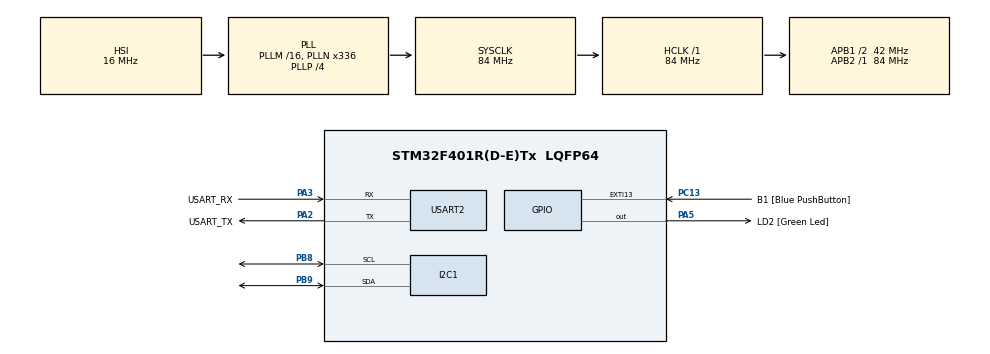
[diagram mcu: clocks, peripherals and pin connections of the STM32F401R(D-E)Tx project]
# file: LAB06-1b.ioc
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Dma.Request0=USART2_TX
Dma.USART2_TX.0.Direction=DMA_MEMORY_TO_PERIPH
Dma.USART2_TX.0.FIFOMode=DMA_FIFOMODE_DISABLE
Dma.USART2_TX.0.Instance=DMA1_Stream6
Dma.USART2_TX.0.MemDataAlignment=DMA_MDATAALIGN_BYTE
Dma.USART2_TX.0.MemInc=DMA_MINC_ENABLE
Dma.USART2_TX.0.Mode=DMA_NORMAL
Dma.USART2_TX.0.PeriphDataAlignment=DMA_PDATAALIGN_BYTE
Dma.USART2_TX.0.PeriphInc=DMA_PINC_DISABLE
Dma.USART2_TX.0.Priority=DMA_PRIORITY_LOW
Mcu.Family=STM32F4
Mcu.Name=STM32F401R(D-E)Tx
Mcu.Package=LQFP64
NVIC.DMA1_Stream6_IRQn=true\:0\:0\:false\:false\:true\:false\:true\:true
NVIC.PriorityGroup=NVIC_PRIORITYGROUP_4
NVIC.TIM2_IRQn=true\:0\:0\:false\:false\:true\:true\:true\:true
NVIC.USART2_IRQn=true\:0\:0\:false\:false\:true\:true\:true\:true
PA13.GPIO_Label=TMS
PA13.Mode=Trace_Asynchronous_SW
PA13.Signal=SYS_JTMS-SWDIO
PA14.GPIO_Label=TCK
PA14.Mode=Trace_Asynchronous_SW
PA14.Signal=SYS_JTCK-SWCLK
PA2.GPIO_Label=USART_TX
PA2.GPIO_Mode=GPIO_MODE_AF_PP
PA2.GPIO_PuPd=GPIO_NOPULL
PA2.GPIO_Speed=GPIO_SPEED_FREQ_LOW
PA2.Mode=Asynchronous
PA2.Signal=USART2_TX
PA3.GPIO_Label=USART_RX
PA3.GPIO_Mode=GPIO_MODE_AF_PP
PA3.GPIO_PuPd=GPIO_NOPULL
PA3.GPIO_Speed=GPIO_SPEED_FREQ_LOW
PA3.Mode=Asynchronous
PA3.Signal=USART2_RX
PA5.GPIO_Label=LD2 [Green Led]
PA5.GPIO_Mode=GPIO_MODE_OUTPUT_PP
PA5.GPIO_PuPd=GPIO_NOPULL
PA5.GPIO_Speed=GPIO_SPEED_FREQ_LOW
PA5.Signal=GPIO_Output
PB3.GPIO_Label=SWO
PB3.Mode=Trace_Asynchronous_SW
PB3.Signal=SYS_JTDO-SWO
PB8.Mode=I2C
PB8.Signal=I2C1_SCL
PB9.Mode=I2C
PB9.Signal=I2C1_SDA
PC13-ANTI_TAMP.GPIO_Label=B1 [Blue PushButton]
PC13-ANTI_TAMP.GPIO_ModeDefaultEXTI=GPIO_MODE_IT_FALLING
PC13-ANTI_TAMP.GPIO_PuPd=GPIO_NOPULL
PC13-ANTI_TAMP.Signal=GPXTI13
PC14-OSC32_IN.Mode=LSE-External-Oscillator
PC14-OSC32_IN.Signal=RCC_OSC32_IN
PC15-OSC32_OUT.Mode=LSE-External-Oscillator
PC15-OSC32_OUT.Signal=RCC_OSC32_OUT
PH0\ -\ OSC_IN.Mode=HSE-External-Clock-Source
PH0\ -\ OSC_IN.Signal=RCC_OSC_IN
PH1\ -\ OSC_OUT.Mode=HSE-External-Clock-Source
PH1\ -\ OSC_OUT.Signal=RCC_OSC_OUT
ProjectManager.HeapSize=0x200
ProjectManager.StackSize=0x400
ProjectManager.TargetToolchain=STM32CubeIDE
RCC.48MHZClocksFreq_Value=48000000
RCC.AHBFreq_Value=84000000
RCC.APB1CLKDivider=RCC_HCLK_DIV2
RCC.APB1Freq_Value=42000000
RCC.APB1TimFreq_Value=84000000
RCC.APB2Freq_Value=84000000
RCC.APB2TimFreq_Value=84000000
RCC.CortexFreq_Value=84000000
RCC.HCLKFreq_Value=84000000
RCC.HSE_VALUE=8000000
RCC.HSI_VALUE=16000000
RCC.PLLN=336
RCC.PLLP=RCC_PLLP_DIV4
RCC.PLLQ=7
RCC.SYSCLKFreq_VALUE=84000000
RCC.SYSCLKSource=RCC_SYSCLKSOURCE_PLLCLK
RCC.VCOOutputFreq_Value=336000000
TIM2.Period=9999
TIM2.Prescaler=8399
USART2.VirtualMode=VM_ASYNC
VP_TIM2_VS_ClockSourceINT.Mode=Internal
board=NUCLEO-F401RE

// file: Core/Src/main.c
/* USER CODE BEGIN Header */
/**
  ******************************************************************************
  * @file           : main.c
  * @brief          : Main program body
  ******************************************************************************
  * @attention
  *
  * Copyright (c) 2026 STMicroelectronics.
  * All rights reserved.
  *
  * This software is licensed under terms that can be found in the LICENSE file
  * in the root directory of this software component.
  * If no LICENSE file comes with this software, it is provided AS-IS.
  *
  ******************************************************************************
  */
/* USER CODE END Header */
#include "main.h"

/* USER CODE BEGIN Includes */

#include <stdio.h>

/* USER CODE END Includes */

/* USER CODE BEGIN PTD */

// Sensor Identification Enum
typedef enum {
  SENSOR_NONE = 0,
  SENSOR_LIS2DE,
  SENSOR_LIS2DW
} SensorType_t;

/* USER CODE END PTD */

/* USER CODE BEGIN PD */

// I2C Addresses (8-bit shifted)
#define LIS2DE_ADDR       (0x28 << 1)
#define LIS2DW_ADDR       (0x18 << 1)

// LIS2DE Registers
#define LIS2DE_CTRL_REG1  0x20
#define LIS2DE_CTRL_REG4  0x23
#define LIS2DE_OUT_X      (0x28 | 0x80)

// LIS2DW Registers
#define LIS2DW_CTRL1      0x20
#define LIS2DW_CTRL2      0x21
#define LIS2DW_CTRL6      0x25
#define LIS2DW_OUT_X_L    0x28

/* USER CODE END PD */

I2C_HandleTypeDef hi2c1;

TIM_HandleTypeDef htim2;

UART_HandleTypeDef huart2;
DMA_HandleTypeDef hdma_usart2_tx;

/* USER CODE BEGIN PV */

// Active Sensor
SensorType_t active_sensor = SENSOR_NONE;

// Sensor reading variables
uint8_t cfg_reg;
uint8_t raw_data[6];
int8_t x_raw, y_raw, z_raw;
float acc_x, acc_y, acc_z;

// UART transmission buffer and length
char tx_buffer[100];
int length;

/* USER CODE END PV */

void SystemClock_Config(void);
static void MX_GPIO_Init(void);
static void MX_DMA_Init(void);
static void MX_USART2_UART_Init(void);
static void MX_I2C1_Init(void);
static void MX_TIM2_Init(void);

int main(void)
{

  /* MCU Configuration--------------------------------------------------------*/

  /* Reset of all peripherals, Initializes the Flash interface and the Systick. */
  HAL_Init();

  /* Configure the system clock */
  SystemClock_Config();

  /* Initialize all configured peripherals */
  MX_GPIO_Init();
  MX_DMA_Init();
  MX_USART2_UART_Init();
  MX_I2C1_Init();
  MX_TIM2_Init();
  /* USER CODE BEGIN 2 */

  if (HAL_I2C_IsDeviceReady(&hi2c1, LIS2DE_ADDR, 2, 100) == HAL_OK) {

    // Select active sensor
    active_sensor = SENSOR_LIS2DE;

    // Initialize LIS2DE (1 Hz, Normal mode, +/- 2g)
    cfg_reg = 0x17; // CTRL_REG1
    HAL_I2C_Mem_Write(&hi2c1, LIS2DE_ADDR, LIS2DE_CTRL_REG1, I2C_MEMADD_SIZE_8BIT, &cfg_reg, 1, 100);
    cfg_reg = 0x00; // CTRL_REG4
    HAL_I2C_Mem_Write(&hi2c1, LIS2DE_ADDR, LIS2DE_CTRL_REG4, I2C_MEMADD_SIZE_8BIT, &cfg_reg, 1, 100);

    length = snprintf(tx_buffer, sizeof(tx_buffer), "LIS2DE detected and configured.\r\n");
    HAL_UART_Transmit_DMA(&huart2, (uint8_t*)tx_buffer, length);

  } else if (HAL_I2C_IsDeviceReady(&hi2c1, LIS2DW_ADDR, 2, 100) == HAL_OK) {

    // Select active sensor
    active_sensor = SENSOR_LIS2DW;

    // Initialize LIS2DW (12.5 Hz, High-Performance mode, BDU on, IF_INC on, +/- 2g)
    cfg_reg = 0x14; // CTRL1
    HAL_I2C_Mem_Write(&hi2c1, LIS2DW_ADDR, LIS2DW_CTRL1, I2C_MEMADD_SIZE_8BIT, &cfg_reg, 1, 100);
    cfg_reg = 0x0C; // CTRL2
    HAL_I2C_Mem_Write(&hi2c1, LIS2DW_ADDR, LIS2DW_CTRL2, I2C_MEMADD_SIZE_8BIT, &cfg_reg, 1, 100);
    cfg_reg = 0x00; // CTRL6
    HAL_I2C_Mem_Write(&hi2c1, LIS2DW_ADDR, LIS2DW_CTRL6, I2C_MEMADD_SIZE_8BIT, &cfg_reg, 1, 100);

    length = snprintf(tx_buffer, sizeof(tx_buffer), "LIS2DW detected and configured.\r\n");
    HAL_UART_Transmit_DMA(&huart2, (uint8_t*)tx_buffer, length);

  } else {

    length = snprintf(tx_buffer, sizeof(tx_buffer), "Error: No Accelerometer Detected.\r\n");
    HAL_UART_Transmit_DMA(&huart2, (uint8_t*)tx_buffer, length);
  }

  // Start the timer in interrupt mode
  HAL_TIM_Base_Start_IT(&htim2);

  /* USER CODE END 2 */

  /* Infinite loop */
  while (1)
  {

  }
}

void SystemClock_Config(void)
{
  RCC_OscInitTypeDef RCC_OscInitStruct = {0};
  RCC_ClkInitTypeDef RCC_ClkInitStruct = {0};

  /** Configure the main internal regulator output voltage
  */
  __HAL_RCC_PWR_CLK_ENABLE();
  __HAL_PWR_VOLTAGESCALING_CONFIG(PWR_REGULATOR_VOLTAGE_SCALE2);

  /** Initializes the RCC Oscillators according to the specified parameters
  * in the RCC_OscInitTypeDef structure.
  */
  RCC_OscInitStruct.OscillatorType = RCC_OSCILLATORTYPE_HSI;
  RCC_OscInitStruct.HSIState = RCC_HSI_ON;
  RCC_OscInitStruct.HSICalibrationValue = RCC_HSICALIBRATION_DEFAULT;
  RCC_OscInitStruct.PLL.PLLState = RCC_PLL_ON;
  RCC_OscInitStruct.PLL.PLLSource = RCC_PLLSOURCE_HSI;
  RCC_OscInitStruct.PLL.PLLM = 16;
  RCC_OscInitStruct.PLL.PLLN = 336;
  RCC_OscInitStruct.PLL.PLLP = RCC_PLLP_DIV4;
  RCC_OscInitStruct.PLL.PLLQ = 7;
  if (HAL_RCC_OscConfig(&RCC_OscInitStruct) != HAL_OK)
  {
    Error_Handler();
  }

  /** Initializes the CPU, AHB and APB buses clocks
  */
  RCC_ClkInitStruct.ClockType = RCC_CLOCKTYPE_HCLK|RCC_CLOCKTYPE_SYSCLK
                              |RCC_CLOCKTYPE_PCLK1|RCC_CLOCKTYPE_PCLK2;
  RCC_ClkInitStruct.SYSCLKSource = RCC_SYSCLKSOURCE_PLLCLK;
  RCC_ClkInitStruct.AHBCLKDivider = RCC_SYSCLK_DIV1;
  RCC_ClkInitStruct.APB1CLKDivider = RCC_HCLK_DIV2;
  RCC_ClkInitStruct.APB2CLKDivider = RCC_HCLK_DIV1;

  if (HAL_RCC_ClockConfig(&RCC_ClkInitStruct, FLASH_LATENCY_2) != HAL_OK)
  {
    Error_Handler();
  }
}

static void MX_I2C1_Init(void)
{

  hi2c1.Instance = I2C1;
  hi2c1.Init.ClockSpeed = 100000;
  hi2c1.Init.DutyCycle = I2C_DUTYCYCLE_2;
  hi2c1.Init.OwnAddress1 = 0;
  hi2c1.Init.AddressingMode = I2C_ADDRESSINGMODE_7BIT;
  hi2c1.Init.DualAddressMode = I2C_DUALADDRESS_DISABLE;
  hi2c1.Init.OwnAddress2 = 0;
  hi2c1.Init.GeneralCallMode = I2C_GENERALCALL_DISABLE;
  hi2c1.Init.NoStretchMode = I2C_NOSTRETCH_DISABLE;
  if (HAL_I2C_Init(&hi2c1) != HAL_OK)
  {
    Error_Handler();
  }

}

static void MX_TIM2_Init(void)
{

  TIM_ClockConfigTypeDef sClockSourceConfig = {0};
  TIM_MasterConfigTypeDef sMasterConfig = {0};

  htim2.Instance = TIM2;
  htim2.Init.Prescaler = 8399;
  htim2.Init.CounterMode = TIM_COUNTERMODE_UP;
  htim2.Init.Period = 9999;
  htim2.Init.ClockDivision = TIM_CLOCKDIVISION_DIV1;
  htim2.Init.AutoReloadPreload = TIM_AUTORELOAD_PRELOAD_DISABLE;
  if (HAL_TIM_Base_Init(&htim2) != HAL_OK)
  {
    Error_Handler();
  }
  sClockSourceConfig.ClockSource = TIM_CLOCKSOURCE_INTERNAL;
  if (HAL_TIM_ConfigClockSource(&htim2, &sClockSourceConfig) != HAL_OK)
  {
    Error_Handler();
  }
  sMasterConfig.MasterOutputTrigger = TIM_TRGO_RESET;
  sMasterConfig.MasterSlaveMode = TIM_MASTERSLAVEMODE_DISABLE;
  if (HAL_TIMEx_MasterConfigSynchronization(&htim2, &sMasterConfig) != HAL_OK)
  {
    Error_Handler();
  }

}

static void MX_USART2_UART_Init(void)
{

  huart2.Instance = USART2;
  huart2.Init.BaudRate = 115200;
  huart2.Init.WordLength = UART_WORDLENGTH_8B;
  huart2.Init.StopBits = UART_STOPBITS_1;
  huart2.Init.Parity = UART_PARITY_NONE;
  huart2.Init.Mode = UART_MODE_TX_RX;
  huart2.Init.HwFlowCtl = UART_HWCONTROL_NONE;
  huart2.Init.OverSampling = UART_OVERSAMPLING_16;
  if (HAL_UART_Init(&huart2) != HAL_OK)
  {
    Error_Handler();
  }

}

static void MX_DMA_Init(void)
{

  /* DMA controller clock enable */
  __HAL_RCC_DMA1_CLK_ENABLE();

  /* DMA interrupt init */
  /* DMA1_Stream6_IRQn interrupt configuration */
  HAL_NVIC_SetPriority(DMA1_Stream6_IRQn, 0, 0);
  HAL_NVIC_EnableIRQ(DMA1_Stream6_IRQn);

}

static void MX_GPIO_Init(void)
{
  GPIO_InitTypeDef GPIO_InitStruct = {0};

  /* GPIO Ports Clock Enable */
  __HAL_RCC_GPIOC_CLK_ENABLE();
  __HAL_RCC_GPIOH_CLK_ENABLE();
  __HAL_RCC_GPIOA_CLK_ENABLE();
  __HAL_RCC_GPIOB_CLK_ENABLE();

  /*Configure GPIO pin Output Level */
  HAL_GPIO_WritePin(LD2_GPIO_Port, LD2_Pin, GPIO_PIN_RESET);

  /*Configure GPIO pin : B1_Pin */
  GPIO_InitStruct.Pin = B1_Pin;
  GPIO_InitStruct.Mode = GPIO_MODE_IT_FALLING;
  GPIO_InitStruct.Pull = GPIO_NOPULL;
  HAL_GPIO_Init(B1_GPIO_Port, &GPIO_InitStruct);

  /*Configure GPIO pin : LD2_Pin */
  GPIO_InitStruct.Pin = LD2_Pin;
  GPIO_InitStruct.Mode = GPIO_MODE_OUTPUT_PP;
  GPIO_InitStruct.Pull = GPIO_NOPULL;
  GPIO_InitStruct.Speed = GPIO_SPEED_FREQ_LOW;
  HAL_GPIO_Init(LD2_GPIO_Port, &GPIO_InitStruct);

}

/* USER CODE BEGIN 4 */

// This function is automatically called when a Timer Period elapses
void HAL_TIM_PeriodElapsedCallback(TIM_HandleTypeDef *htim)
{
  if (htim->Instance == TIM2) {

    if (active_sensor == SENSOR_LIS2DE) {

      // LIS2DE Read
      HAL_I2C_Mem_Read(&hi2c1, LIS2DE_ADDR, LIS2DE_OUT_X, I2C_MEMADD_SIZE_8BIT, raw_data, 6, HAL_MAX_DELAY);

      // 8-bit extraction
      int8_t x_raw = (int8_t)raw_data[1];
      int8_t y_raw = (int8_t)raw_data[3];
      int8_t z_raw = (int8_t)raw_data[5];

      // 15.6 mg/digit sensitivity
      acc_x = x_raw * 0.0156f;
      acc_y = y_raw * 0.0156f;
      acc_z = z_raw * 0.0156f;

    } else if (active_sensor == SENSOR_LIS2DW) {

      // LIS2DW Read
      HAL_I2C_Mem_Read(&hi2c1, LIS2DW_ADDR, LIS2DW_OUT_X_L, I2C_MEMADD_SIZE_8BIT, raw_data, 6, HAL_MAX_DELAY);

      // 16-bit extraction (14-bit left justified)
      int16_t x_raw = (int16_t)((raw_data[1] << 8) | raw_data[0]);
      int16_t y_raw = (int16_t)((raw_data[3] << 8) | raw_data[2]);
      int16_t z_raw = (int16_t)((raw_data[5] << 8) | raw_data[4]);

      // 0.061 mg/digit sensitivity
      acc_x = x_raw * 0.000061f;
      acc_y = y_raw * 0.000061f;
      acc_z = z_raw * 0.000061f;
    }

    // Send read data via UART
    if (active_sensor != SENSOR_NONE) {
      length = snprintf(tx_buffer, sizeof(tx_buffer), "X: %+.2f g\r\nY: %+.2f g\r\nZ: %+.2f g\r\n\r\n", acc_x, acc_y, acc_z);
      HAL_UART_Transmit_DMA(&huart2, (uint8_t*)tx_buffer, length);
    }
  }
}

/* USER CODE END 4 */

void Error_Handler(void)
{
  __disable_irq();
  while (1)
  {
  }
}
